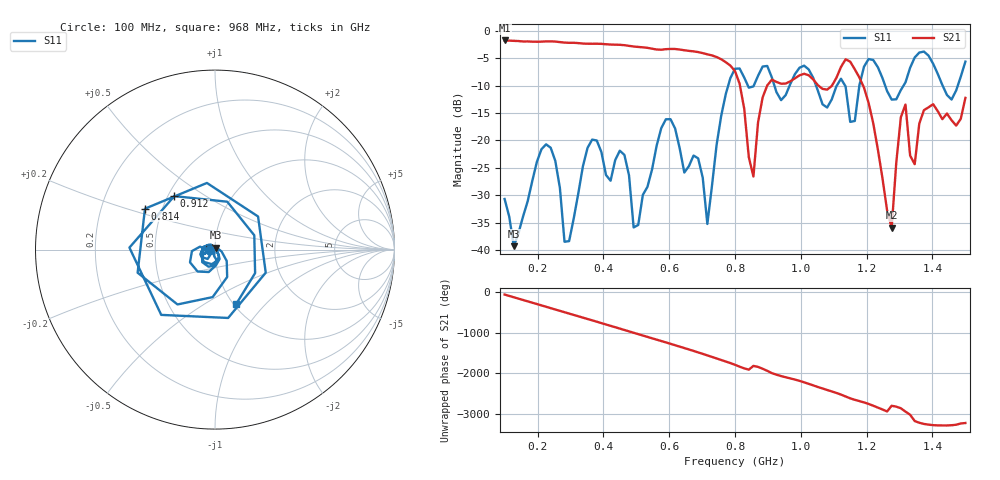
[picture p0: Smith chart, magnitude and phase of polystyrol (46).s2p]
! NanoVNA-App
! Date: 2025-09-26 09:42:14
! Start: 100MHz Stop: 1,5GHz Points: 101
! S-Parameter data: F S11 S21 S12 S22
# Hz S RI R 50
!  Frequency  S11_Real  S11_Imag  S21_Real  S21_Imag  S12_Real  S12_Imag  S22_Real  S22_Imag
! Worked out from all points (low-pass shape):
!   101 points, 100 MHz to 1.5 GHz, reference 50 ohm
!   highest |S21| = -1.79 dB at 100 MHz (marker M1); lowest = -35.9 dB at 1.276 GHz (marker M2)
!   |S21| within 3 dB of the highest: start of sweep to 743.3 MHz
!   lowest |S11| = -39.2 dB at 128 MHz (marker M3), VSWR 1.02, Z = 50.3 + j1.06 ohm
!   |S11| at or under -10 dB: start of sweep to 779.4 MHz; 1.046 GHz to 1.109 GHz (63.22 MHz wide, 5.87 % of centre); 1.256 GHz to 1.312 GHz (56 MHz wide, 4.36 % of centre)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
!   S12 and S22 are empty: the file has one direction only
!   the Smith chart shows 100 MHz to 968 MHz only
!   S11 on the Smith chart (normalised r, x): 100 MHz: 0.94, -0.01; 814 MHz: 0.40, +0.23; 912 MHz: 0.54, +0.37; 968 MHz: 1.02, -0.70
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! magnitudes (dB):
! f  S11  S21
! 100 MHz  -30.7  -1.8
! 128 MHz  -39.2  -1.9
! 212 MHz  -21.6  -2.0
! 254 MHz  -23.7  -2.0
! 282 MHz  -38.4  -2.2
! 338 MHz  -24.7  -2.4
! 464 MHz  -22.6  -2.6
! 492 MHz  -35.8  -2.9
! 576 MHz  -17.8  -3.5
! 688 MHz  -23.2  -3.9
! 716 MHz  -35.2  -4.3
! 800 MHz  -6.9  -7.4
! 814 MHz  -6.9  -9.7
! 856 MHz  -10.2  -26.6
! 912 MHz  -8.5  -8.9
! 968 MHz  -9.7  -9.2
! 1.038 GHz  -8.6  -8.9
! 1.178 GHz  -9.9  -8.5
! 1.276 GHz  -12.6  -35.9
! 1.318 GHz  -9.4  -13.5
! 1.346 GHz  -4.9  -24.3
! 1.5 GHz  -5.6  -12.2
